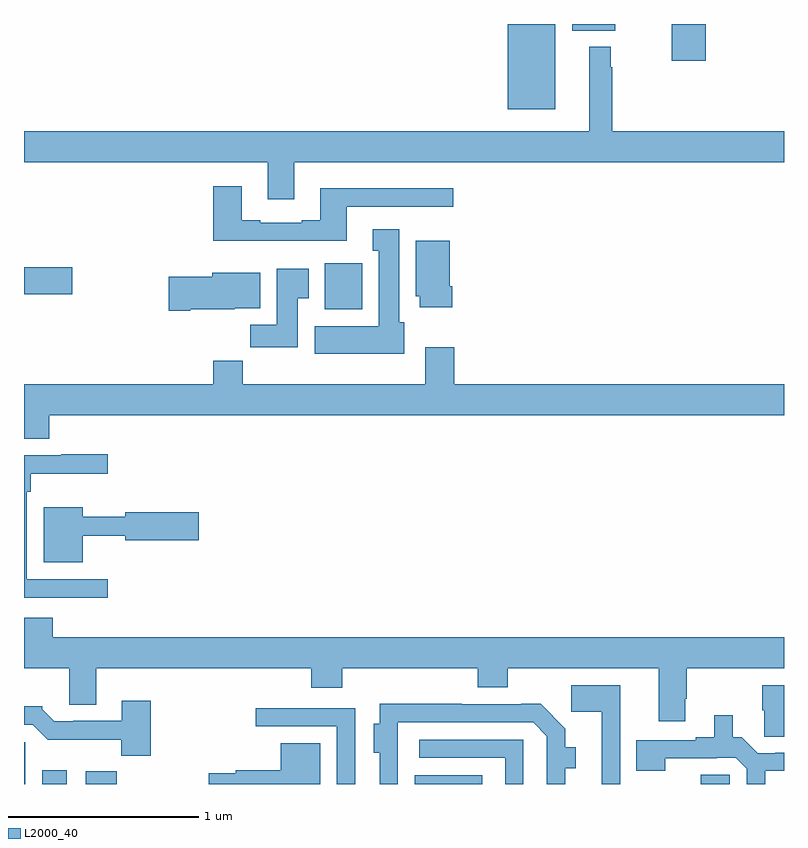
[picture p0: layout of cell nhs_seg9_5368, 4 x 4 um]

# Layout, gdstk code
import gdstk
lib = gdstk.Library(unit=1e-6, precision=1e-09)
def R(c, l, rs):  # rectangles x0, y0, x1, y1
    for r in rs: c.add(gdstk.rectangle(r[:2], r[2:], *l))
def P(c, l, *ps):  # polygons
    for p in ps: c.add(gdstk.Polygon(p, *l))
L2000_40 = (2000, 40)

nhs_seg9_5368 = lib.new_cell('nhs_seg9_5368')
R(nhs_seg9_5368, L2000_40, [(423,1174.5,423.007,1174.719), (423.095,1174.5,423.226,1174.573), (423.326,1174.5,423.488,1174.567), (425.057,1174.5,425.413,1174.546), (426.562,1174.5,426.715,1174.55), (424.583,1176.998,424.78,1177.24), (423,1177.078,423.253,1177.22), (425.546,1178.051,425.797,1178.5), (426.409,1178.307,426.587,1178.5), (425.885,1178.465,426.112,1178.5)])
P(nhs_seg9_5368, L2000_40, [(424.423,1177.772),(427,1177.772),(427,1177.936),(426.097,1177.936),(426.097,1178.273),(426.089,1178.273),(426.089,1178.38),(425.975,1178.38),(425.975,1177.936),(423,1177.936),(423,1177.772),(424.283,1177.772),(424.283,1177.578),(424.423,1177.578)],
  [(424.699,1177.539),(425.26,1177.539),(425.26,1177.636),(424.559,1177.636),(424.559,1177.468),(424.463,1177.468),(424.463,1177.455),(424.243,1177.455),(424.243,1177.468),(424.147,1177.468),(424.147,1177.645),(423.995,1177.645),(423.995,1177.358),(424.699,1177.358)],
  [(425.002,1176.93),(424.975,1176.93),(424.975,1177.42),(424.835,1177.42),(424.835,1177.307),(424.868,1177.307),(424.868,1176.91),(424.529,1176.91),(424.529,1176.764),(425.002,1176.764)],
  [(425.255,1177.12),(425.242,1177.12),(425.242,1177.36),(425.063,1177.36),(425.063,1177.068),(425.084,1177.068),(425.084,1177.008),(425.255,1177.008)],
  [(424.441,1177.057),(424.498,1177.057),(424.498,1177.213),(424.331,1177.213),(424.331,1176.916),(424.192,1176.916),(424.192,1176.798),(424.441,1176.798)],
  [(423.874,1176.998),(424.11,1176.998),(424.11,1177.004),(424.243,1177.004),(424.243,1177.192),(423.992,1177.192),(423.992,1177.169),(423.762,1177.169),(423.762,1176.991),(423.874,1176.991)],
  [(423.134,1176.44),(427,1176.44),(427,1176.604),(425.264,1176.604),(425.264,1176.799),(425.111,1176.799),(425.111,1176.604),(424.151,1176.604),(424.151,1176.728),(423.995,1176.728),(423.995,1176.604),(423,1176.604),(423,1176.316),(423.134,1176.316)],
  [(423.442,1175.577),(423.015,1175.577),(423.015,1176.038),(423.035,1176.038),(423.035,1176.134),(423.442,1176.134),(423.442,1176.235),(423.197,1176.235),(423.197,1176.231),(423,1176.231),(423,1175.481),(423.442,1175.481)],
  [(423.31,1175.806),(423.534,1175.806),(423.534,1175.783),(423.919,1175.783),(423.919,1175.93),(423.534,1175.93),(423.534,1175.907),(423.31,1175.907),(423.31,1175.956),(423.104,1175.956),(423.104,1175.666),(423.31,1175.666)],
  [(426.481,1174.948),(426.489,1174.948),(426.489,1175.108),(427,1175.108),(427,1175.272),(423.152,1175.272),(423.152,1175.374),(423,1175.374),(423,1175.108),(423.239,1175.108),(423.239,1174.918),(423.379,1174.918),(423.379,1175.108),(424.511,1175.108),(424.511,1175.006),(424.676,1175.006),(424.676,1175.108),(425.387,1175.108),(425.387,1175.009),(425.547,1175.009),(425.547,1175.108),(426.341,1175.108),(426.341,1174.83),(426.481,1174.83)],
  [(426.138,1175.02),(425.88,1175.02),(425.88,1174.881),(426.041,1174.881),(426.041,1174.5),(426.138,1174.5)],
  [(427,1175.019),(426.886,1175.019),(426.886,1174.887),(426.895,1174.887),(426.895,1174.75),(427,1174.75)],
  [(423.668,1174.939),(423.515,1174.939),(423.515,1174.833),(423.259,1174.833),(423.259,1174.83),(423.16,1174.83),(423.096,1174.894),(423.096,1174.909),(423,1174.909),(423,1174.812),(423.045,1174.812),(423.124,1174.734),(423.513,1174.734),(423.513,1174.649),(423.668,1174.649)],
  [(424.968,1174.824),(425.679,1174.824),(425.751,1174.752),(425.751,1174.5),(425.848,1174.5),(425.848,1174.584),(425.905,1174.584),(425.905,1174.694),(425.849,1174.694),(425.849,1174.792),(425.719,1174.922),(425.618,1174.922),(425.618,1174.92),(425.303,1174.92),(425.303,1174.922),(424.872,1174.922),(424.872,1174.816),(424.841,1174.816),(424.841,1174.664),(424.872,1174.664),(424.872,1174.5),(424.968,1174.5)],
  [(424.743,1174.899),(424.221,1174.899),(424.221,1174.803),(424.647,1174.803),(424.647,1174.5),(424.743,1174.5)],
  [(426.9,1174.569),(427,1174.569),(427,1174.665),(426.955,1174.665),(426.955,1174.662),(426.861,1174.662),(426.777,1174.746),(426.73,1174.746),(426.73,1174.861),(426.632,1174.861),(426.632,1174.746),(426.536,1174.746),(426.536,1174.731),(426.223,1174.731),(426.223,1174.57),(426.375,1174.57),(426.375,1174.635),(426.647,1174.635),(426.647,1174.638),(426.747,1174.638),(426.804,1174.581),(426.804,1174.5),(426.9,1174.5)],
  [(425.628,1174.734),(425.079,1174.734),(425.079,1174.638),(425.532,1174.638),(425.532,1174.5),(425.628,1174.5)],
  [(424.558,1174.714),(424.352,1174.714),(424.352,1174.573),(424.115,1174.573),(424.115,1174.556),(423.973,1174.556),(423.973,1174.5),(424.558,1174.5)])

lib.write_gds('nhs_seg9_5368.gds')
